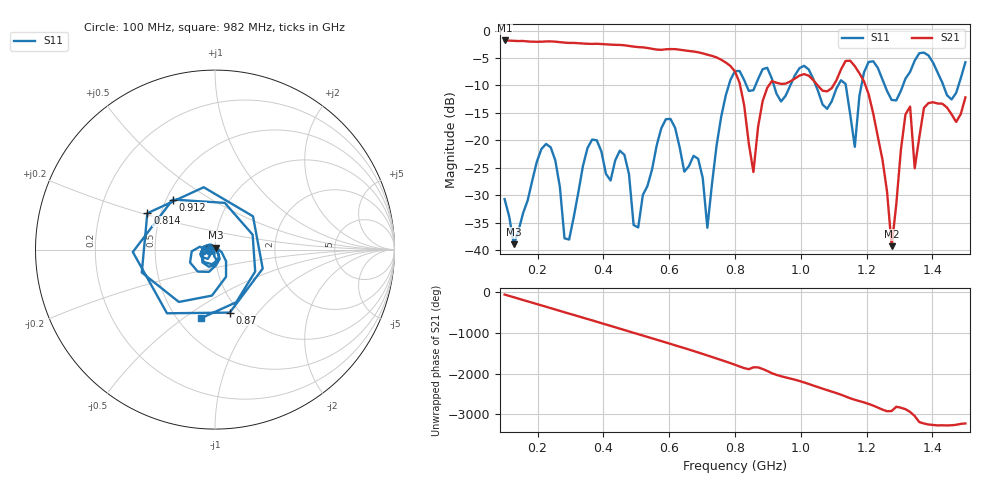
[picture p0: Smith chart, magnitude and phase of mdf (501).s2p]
! NanoVNA-App
! Date: 2025-09-25 15:42:19
! Start: 100MHz Stop: 1,5GHz Points: 101
! S-Parameter data: F S11 S21 S12 S22
# Hz S RI R 50
!  Frequency  S11_Real  S11_Imag  S21_Real  S21_Imag  S12_Real  S12_Imag  S22_Real  S22_Imag
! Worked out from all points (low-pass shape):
!   101 points, 100 MHz to 1.5 GHz, reference 50 ohm
!   highest |S21| = -1.80 dB at 100 MHz (marker M1); lowest = -39.3 dB at 1.276 GHz (marker M2)
!   |S21| within 3 dB of the highest: start of sweep to 739.3 MHz
!   lowest |S11| = -39.0 dB at 128 MHz (marker M3), VSWR 1.02, Z = 50.3 + j1.08 ohm
!   |S11| at or under -10 dB: start of sweep to 781 MHz; 918.3 MHz to 968 MHz (49.68 MHz wide, 5.27 % of centre); 1.046 GHz to 1.113 GHz (67.75 MHz wide, 6.28 % of centre) (the widest 3 of 7)
!   S12 and S22 are empty: the file has one direction only
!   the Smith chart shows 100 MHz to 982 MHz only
!   S11 on the Smith chart (normalised r, x): 100 MHz: 0.94, -0.01; 814 MHz: 0.42, +0.21; 870 MHz: 0.90, -0.73; 912 MHz: 0.54, +0.35; 982 MHz: 0.65, -0.58
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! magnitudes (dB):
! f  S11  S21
! 100 MHz  -30.7  -1.8
! 128 MHz  -39.0  -1.9
! 212 MHz  -21.6  -2.0
! 282 MHz  -37.9  -2.2
! 338 MHz  -24.7  -2.4
! 464 MHz  -22.7  -2.7
! 506 MHz  -35.9  -3.0
! 576 MHz  -17.8  -3.5
! 716 MHz  -36.0  -4.4
! 800 MHz  -7.4  -7.5
! 814 MHz  -7.4  -9.5
! 856 MHz  -10.9  -25.8
! 870 MHz  -8.9  -17.6
! 912 MHz  -8.8  -9.2
! 982 MHz  -8.2  -8.8
! 1.038 GHz  -8.8  -9.1
! 1.164 GHz  -21.2  -6.5
! 1.192 GHz  -7.6  -9.3
! 1.276 GHz  -12.7  -39.3
! 1.318 GHz  -8.8  -15.3
! 1.346 GHz  -5.5  -25.1
! 1.5 GHz  -5.8  -12.2
